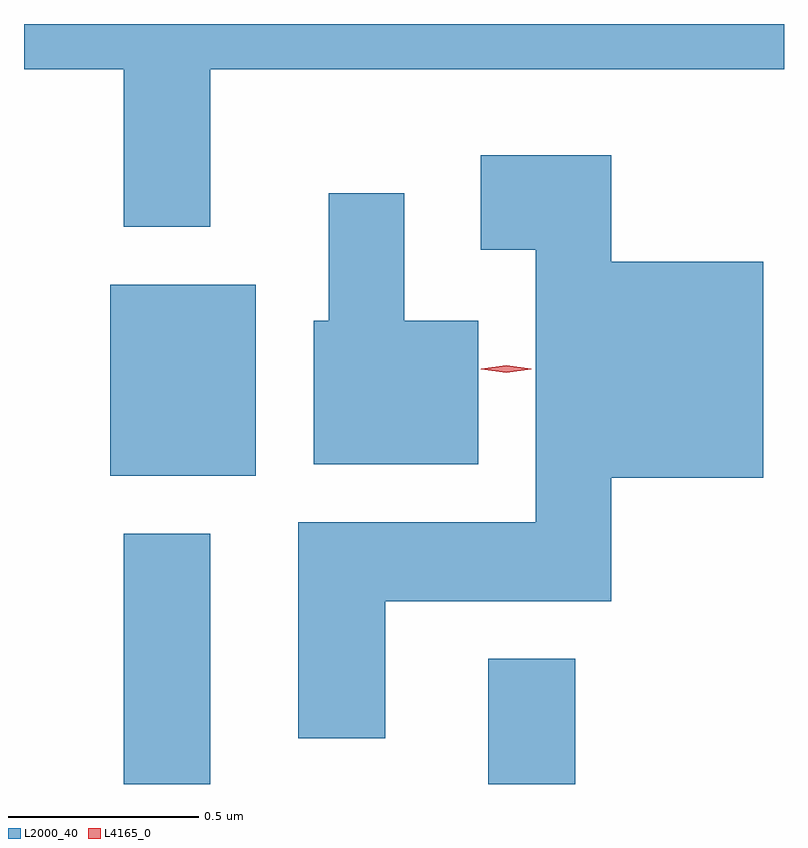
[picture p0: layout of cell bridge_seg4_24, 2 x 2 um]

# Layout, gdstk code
import gdstk
lib = gdstk.Library(unit=1e-6, precision=1e-09)
def R(c, l, rs):  # rectangles x0, y0, x1, y1
    for r in rs: c.add(gdstk.rectangle(r[:2], r[2:], *l))
def P(c, l, *ps):  # polygons
    for p in ps: c.add(gdstk.Polygon(p, *l))
L2000_40 = (2000, 40)
L4165_0 = (4165, 0)

bridge_seg4_24 = lib.new_cell('bridge_seg4_24')
R(bridge_seg4_24, L2000_40, [(1199.891,1323.935,1200.119,1324.594), (1200.851,1323.935,1201.079,1324.264), (1199.856,1324.746,1200.239,1325.249)])
P(bridge_seg4_24, L2000_40, [(1200.119,1325.816),(1201.629,1325.816),(1201.629,1325.935),(1199.629,1325.935),(1199.629,1325.816),(1199.891,1325.816),(1199.891,1325.401),(1200.119,1325.401)],
  [(1200.579,1324.416),(1201.174,1324.416),(1201.174,1324.741),(1201.574,1324.741),(1201.574,1325.309),(1201.174,1325.309),(1201.174,1325.589),(1200.831,1325.589),(1200.831,1325.341),(1200.976,1325.341),(1200.976,1324.624),(1200.351,1324.624),(1200.351,1324.056),(1200.579,1324.056)],
  [(1200.824,1325.154),(1200.629,1325.154),(1200.629,1325.489),(1200.431,1325.489),(1200.431,1325.154),(1200.391,1325.154),(1200.391,1324.776),(1200.824,1324.776)])
P(bridge_seg4_24, L4165_0, [(1200.898,1325.017),(1200.832,1325.027),(1200.831,1325.027),(1200.832,1325.028),(1200.898,1325.037),(1200.964,1325.028),(1200.964,1325.027),(1200.964,1325.027)])

lib.write_gds('bridge_seg4_24.gds')
